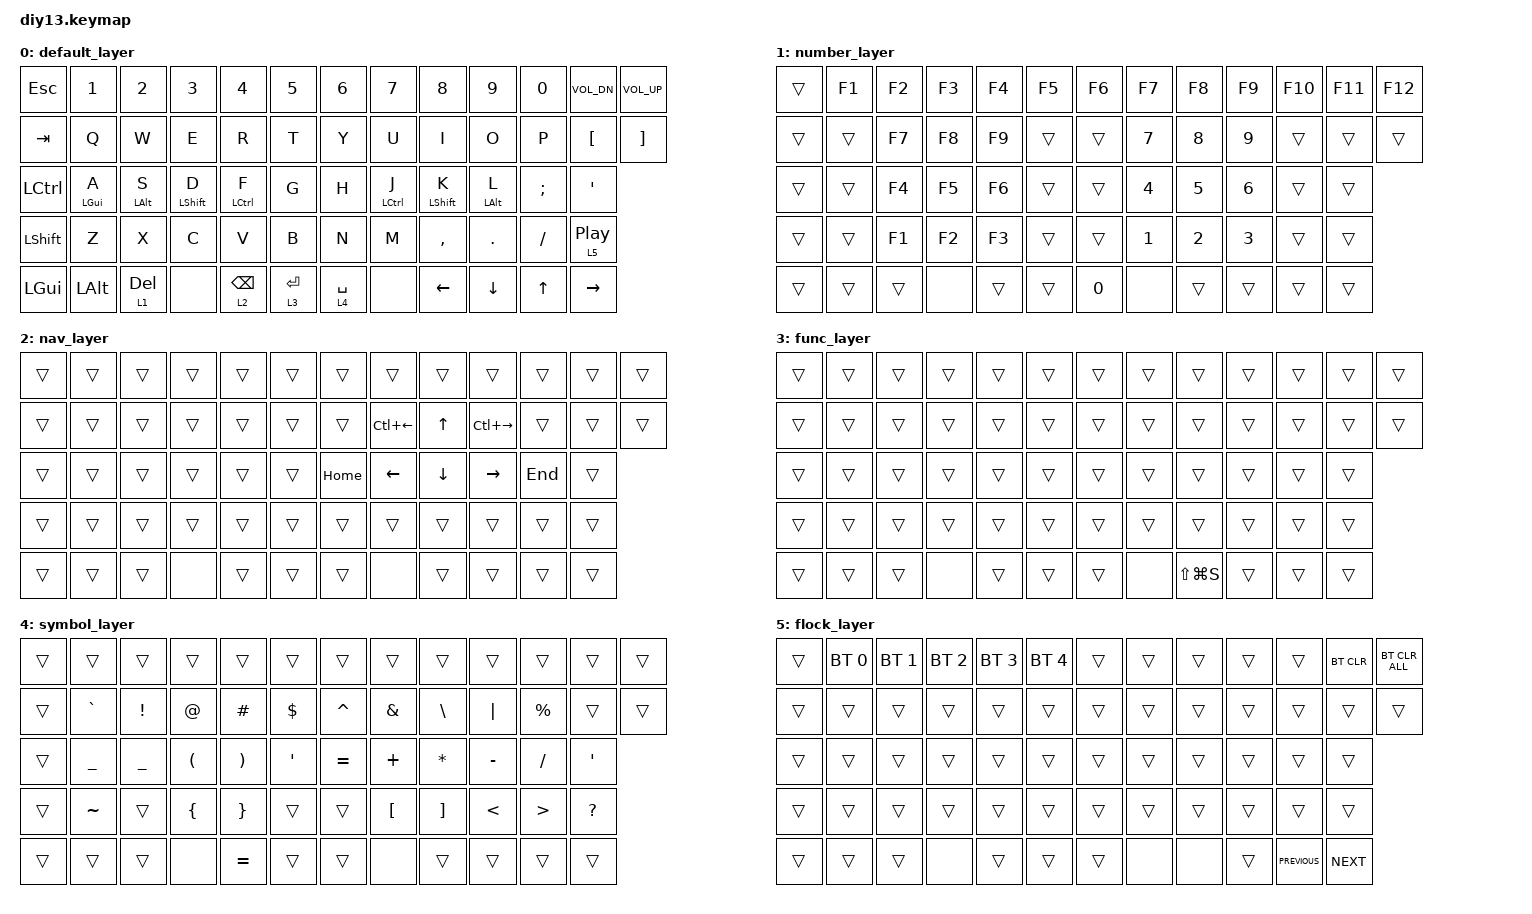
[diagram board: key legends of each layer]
#include <behaviors.dtsi>
#include <dt-bindings/zmk/bt.h>
#include <dt-bindings/zmk/keys.h>

#define QUICK_TAP_MS 175

&lt {
    flavor = "balanced";
    tapping-term-ms = <200>;
    quick-tap-ms = <QUICK_TAP_MS>;
};

/ {
    behaviors {
        hm: home_row {
            compatible = "zmk,behavior-hold-tap";
            label = "HOME_ROW";
            bindings = <&kp>, <&kp>;

            #binding-cells = <2>;
            tapping-term-ms = <200>;
            quick-tap-ms = <QUICK_TAP_MS>;
            require-prior-idle-ms = <150>;
            flavor = "balanced";
            hold-trigger-key-positions = <27 28 29 30 33 34 35 36>;
            hold-trigger-on-release;
        };
    };

    combos {
        compatible = "zmk,combos";

        language {
            bindings = <&kp RALT>;
            key-positions = <56 55>;
            layers = <0>;
        };
    };

    keymap {
        compatible = "zmk,keymap";

        default_layer {
            bindings = <
&kp ESC       &kp N1          &kp N2          &kp N3            &kp N4       &kp N5       &kp N6       &kp N7       &kp N8            &kp N9          &kp N0    &kp C_VOL_DN        &kp C_VOLUME_UP
&kp TAB       &kp Q           &kp W           &kp E             &kp R        &kp T        &kp Y        &kp U        &kp I             &kp O           &kp P     &kp LBKT            &kp RBKT
&kp LCTRL     &hm LEFT_GUI A  &hm LEFT_ALT S  &hm LEFT_SHIFT D  &hm LCTRL F  &kp G        &kp H        &hm LCTRL J  &hm LEFT_SHIFT K  &hm LEFT_ALT L  &kp SEMI  &kp SQT
&kp LSHFT     &kp Z           &kp X           &kp C             &kp V        &kp B        &kp N        &kp M        &kp COMMA         &kp DOT         &kp FSLH  &lt 5 C_PLAY_PAUSE
&kp LEFT_GUI  &kp LALT        &lt 1 DEL       &none             &lt 2 BSPC   &lt 3 ENTER  &lt 4 SPACE  &none        &kp LEFT          &kp DOWN        &kp UP    &kp RIGHT
            >;
        };

        number_layer {
            bindings = <
&trans  &kp F1  &kp F2  &kp F3  &kp F4  &kp F5  &kp F6  &kp F7  &kp F8  &kp F9  &kp F10  &kp F11  &kp F12
&trans  &trans  &kp F7  &kp F8  &kp F9  &trans  &trans  &kp N7  &kp N8  &kp N9  &trans   &trans   &trans
&trans  &trans  &kp F4  &kp F5  &kp F6  &trans  &trans  &kp N4  &kp N5  &kp N6  &trans   &trans
&trans  &trans  &kp F1  &kp F2  &kp F3  &trans  &trans  &kp N1  &kp N2  &kp N3  &trans   &trans
&trans  &trans  &trans  &none   &trans  &trans  &kp N0  &none   &trans  &trans  &trans   &trans
            >;
        };

        nav_layer {
            bindings = <
&trans  &trans  &trans  &trans  &trans  &trans  &trans    &trans        &trans    &trans         &trans   &trans  &trans
&trans  &trans  &trans  &trans  &trans  &trans  &trans    &kp LC(LEFT)  &kp UP    &kp LC(RIGHT)  &trans   &trans  &trans
&trans  &trans  &trans  &trans  &trans  &trans  &kp HOME  &kp LEFT      &kp DOWN  &kp RIGHT      &kp END  &trans
&trans  &trans  &trans  &trans  &trans  &trans  &trans    &trans        &trans    &trans         &trans   &trans
&trans  &trans  &trans  &none   &trans  &trans  &trans    &none         &trans    &trans         &trans   &trans
            >;
        };

        func_layer {
            bindings = <
&trans  &trans  &trans  &trans  &trans  &trans  &trans  &trans  &trans         &trans  &trans  &trans  &trans
&trans  &trans  &trans  &trans  &trans  &trans  &trans  &trans  &trans         &trans  &trans  &trans  &trans
&trans  &trans  &trans  &trans  &trans  &trans  &trans  &trans  &trans         &trans  &trans  &trans
&trans  &trans  &trans  &trans  &trans  &trans  &trans  &trans  &trans         &trans  &trans  &trans
&trans  &trans  &trans  &none   &trans  &trans  &trans  &none   &kp LS(LG(S))  &trans  &trans  &trans
            >;
        };

        symbol_layer {
            bindings = <
&trans  &trans     &trans     &trans    &trans     &trans    &trans     &trans    &trans    &trans     &trans     &trans     &trans
&trans  &kp GRAVE  &kp EXCL   &kp AT    &kp HASH   &kp DLLR  &kp CARET  &kp AMPS  &kp BSLH  &kp PIPE   &kp PRCNT  &trans     &trans
&trans  &kp UNDER  &kp UNDER  &kp LPAR  &kp RPAR   &kp APOS  &kp EQUAL  &kp PLUS  &kp STAR  &kp MINUS  &kp SLASH  &kp SQT
&trans  &kp TILDE  &trans     &kp LBRC  &kp RBRC   &trans    &trans     &kp LBKT  &kp RBKT  &kp LT     &kp GT     &kp QMARK
&trans  &trans     &trans     &none     &kp EQUAL  &trans    &trans     &none     &trans    &trans     &trans     &trans
            >;
        };

        flock_layer {
            bindings = <
&trans  &bt BT_SEL 0  &bt BT_SEL 1  &bt BT_SEL 2  &bt BT_SEL 3  &bt BT_SEL 4  &trans  &trans  &trans  &trans  &trans          &bt BT_CLR  &bt BT_CLR_ALL
&trans  &trans        &trans        &trans        &trans        &trans        &trans  &trans  &trans  &trans  &trans          &trans      &trans
&trans  &trans        &trans        &trans        &trans        &trans        &trans  &trans  &trans  &trans  &trans          &trans
&trans  &trans        &trans        &trans        &trans        &trans        &trans  &trans  &trans  &trans  &trans          &trans
&trans  &trans        &trans        &none         &trans        &trans        &trans  &none   &none   &trans  &kp C_PREVIOUS  &kp C_NEXT
            >;
        };
    };
};
